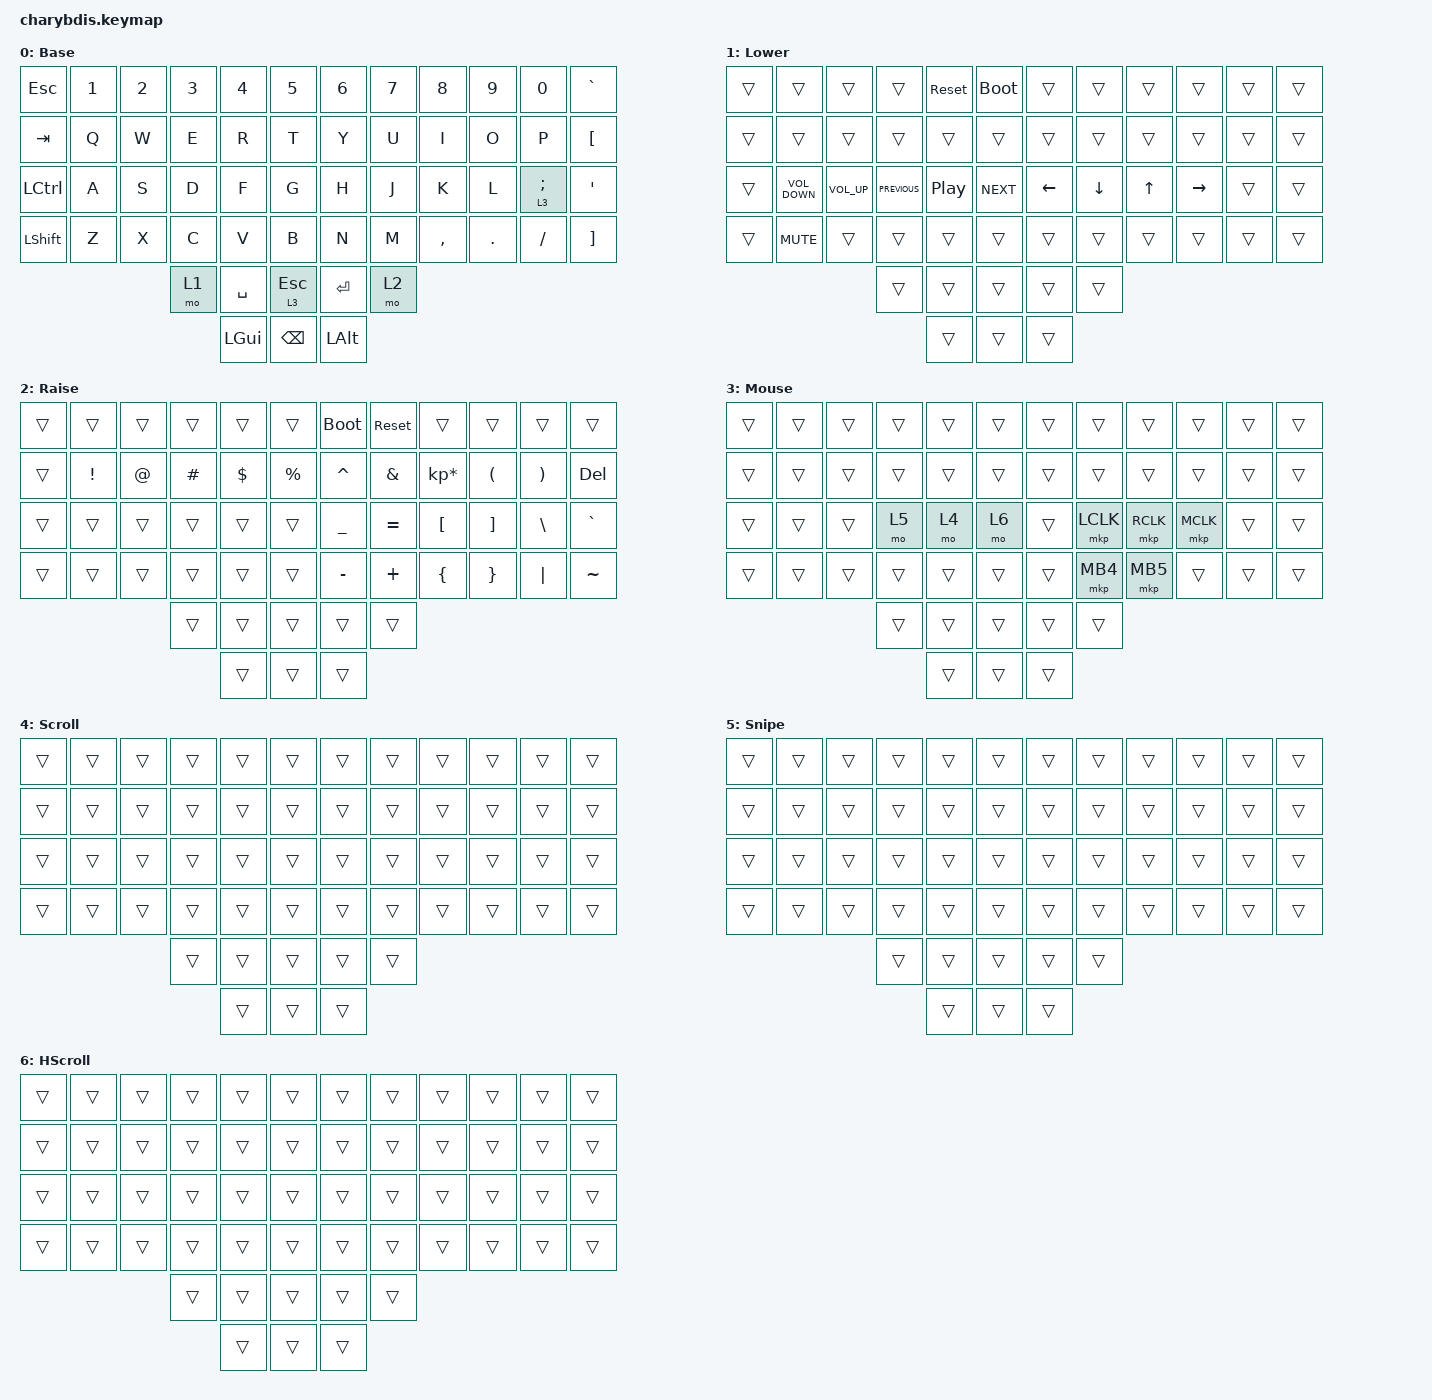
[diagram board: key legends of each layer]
#include <behaviors.dtsi>
#include <dt-bindings/zmk/keys.h>
#include <dt-bindings/zmk/bt.h>
#include <dt-bindings/zmk/ext_power.h>
#include <dt-bindings/zmk/mouse.h>
#include <dt-bindings/zmk/outputs.h>

/ {
    combos {
        compatible = "zmk,combos";

        bootloaderLeft {
            bindings = <&bootloader>;
            key-positions = <0 13>;
        };
        bootloaderRight {
            bindings = <&bootloader>;
            key-positions = <11 22>;
        };
        resetLeft {
            bindings = <&sys_reset>;
            key-positions = <0 12>;
        };
        resetRight {
            bindings = <&sys_reset>;
            key-positions = <11 23>;
        };
    };

    trackball_listener {
        compatible = "zmk,input-behavior-listener";
        device = <&vtrackball>;
        layers = <0 1 2 3>;
        evt-type = <INPUT_EV_REL>;
        x-input-code = <INPUT_REL_X>;
        y-input-code = <INPUT_REL_Y>;
        scale-multiplier = <1>;
        scale-divisor = <2>;
    };

    trackball_snipe_listener {
        compatible = "zmk,input-behavior-listener";   
        device = <&vtrackball>;
        layers = <5>;
        evt-type = <INPUT_EV_REL>;
        x-input-code = <INPUT_REL_X>;
        y-input-code = <INPUT_REL_Y>;
        scale-multiplier = <1>;
        scale-divisor = <4>;
    };

    trackball_scroll_listener {
        compatible = "zmk,input-behavior-listener";
        device = <&vtrackball>;
        layers = <4>;
        evt-type = <INPUT_EV_REL>;            
        x-input-code = <INPUT_REL_MISC>;
        y-input-code = <INPUT_REL_WHEEL>;
        y-invert;
        bindings = <&ib_wheel_scaler 1 64>;
    };

    trackball_hscroll_listener {
        compatible = "zmk,input-behavior-listener";
        device = <&vtrackball>;
        layers = <6>;
        evt-type = <INPUT_EV_REL>;            
        x-input-code = <INPUT_REL_HWHEEL>;
        y-input-code = <INPUT_REL_MISC>;
        y-invert;
        bindings = <&ib_hwheel_scaler 1 64>;
    };

    ib_wheel_scaler: ib_wheel_scaler {
        compatible = "zmk,input-behavior-scaler";
        #binding-cells = <2>;
        evt-type = <INPUT_EV_REL>;
        input-code = <INPUT_REL_WHEEL>;
    };

    ib_hwheel_scaler: ib_hwheel_scaler {
        compatible = "zmk,input-behavior-scaler";
        #binding-cells = <2>;
        evt-type = <INPUT_EV_REL>;
        input-code = <INPUT_REL_HWHEEL>;
    };

    ib_toggle_layer: ib_toggle_layer {
        compatible = "zmk,input-behavior-tog-layer";
        #binding-cells = <1>;
        time-to-live-ms = <750>;
    };

    behaviors {
        lt: layer_tap {
            compatible = "zmk,behavior-hold-tap";
            #binding-cells = <2>;
            flavor = "balanced";
            tapping-term-ms = <240>;
            quick-tap-ms = <150>;
            bindings = 
                <&mo>,
                <&kp>;
        };
    };

    keymap {
        compatible = "zmk,keymap";

        Base {
            label = "Base";
            display-name = "Base";
            bindings = <
            // ╭─────────────┬─────────────┬─────────────┬─────────────┬─────────────┬─────────────╮   ╭─────────────┬─────────────┬─────────────┬─────────────┬─────────────┬─────────────╮
                   &kp ESC       &kp N1         &kp N2        &kp N3        &kp N4        &kp N5            &kp N6        &kp N7        &kp N8        &kp N9        &kp N0      &kp GRAVE
            // ├─────────────┼─────────────┼─────────────┼─────────────┼─────────────┼─────────────┤   ├─────────────┼─────────────┼─────────────┼─────────────┼─────────────┼─────────────┤
                   &kp TAB       &kp Q          &kp W         &kp E         &kp R         &kp T             &kp Y         &kp U         &kp I         &kp O         &kp P       &kp LEFT_BRACKET
            // ├─────────────┼─────────────┼─────────────┼─────────────┼─────────────┼─────────────┤   ├─────────────┼─────────────┼─────────────┼─────────────┼─────────────┼─────────────┤
                  &kp LCTRL      &kp A          &kp S         &kp D         &kp F         &kp G             &kp H         &kp J         &kp K         &kp L       &lt 3 SEMI      &kp APOS
            // ├─────────────┼─────────────┼─────────────┼─────────────┼─────────────┼─────────────┤   ├─────────────┼─────────────┼─────────────┼─────────────┼─────────────┼─────────────┤
                  &kp LSHFT      &kp Z          &kp X         &kp C         &kp V         &kp B             &kp N         &kp M      &kp COMMA      &kp DOT       &kp FSLH      &kp RIGHT_BRACKET
            // ╰─────────────┴─────────────┼─────────────┼─────────────┼─────────────┼─────────────┤   ├─────────────┼─────────────┼─────────────┼─────────────┼─────────────┴─────────────╯
                                                              &mo 1         &kp SPACE     &lt 3 ESC           &kp RET       &mo 2 
            //                                           ╰─────────────┤─────────────┤─────────────┤   ├─────────────┼─────────────╯
                                                                            &kp LEFT_GUI  &kp BSPC      &kp LEFT_ALT
            //                                                         ╰─────────────┴─────────────╯   ╰─────────────╯
            >;
        };

        Lower {
            label = "Lower";
            display-name = "Lower";
            bindings = <
            // ╭─────────────┬─────────────┬─────────────┬─────────────┬─────────────┬─────────────╮   ╭─────────────┬─────────────┬─────────────┬─────────────┬─────────────┬─────────────╮
                   &trans         &trans       &trans         &trans      &sys_reset   &bootloader         &trans       &trans         &trans        &trans        &trans        &trans
            // ├─────────────┼─────────────┼─────────────┼─────────────┼─────────────┼─────────────┤   ├─────────────┼─────────────┼─────────────┼─────────────┼─────────────┼─────────────┤
                   &trans         &trans       &trans         &trans       &trans         &trans           &trans       &trans         &trans        &trans        &trans        &trans
            // ├─────────────┼─────────────┼─────────────┼─────────────┼─────────────┼─────────────┤   ├─────────────┼─────────────┼─────────────┼─────────────┼─────────────┼─────────────┤
                   &trans &kp C_VOLUME_DOWN &kp C_VOLUME_UP &kp C_PREVIOUS &kp C_PLAY_PAUSE &kp C_NEXT     &kp LEFT     &kp DOWN       &kp UP        &kp RIGHT     &trans        &trans
            // ├─────────────┼─────────────┼─────────────┼─────────────┼─────────────┼─────────────┤   ├─────────────┼─────────────┼─────────────┼─────────────┼─────────────┼─────────────┤
                   &trans      &kp C_MUTE      &trans         &trans       &trans         &trans           &trans       &trans         &trans        &trans        &trans        &trans
            // ╰─────────────┴─────────────┼─────────────┼─────────────┼─────────────┼─────────────┤   ├─────────────┼─────────────┼─────────────┼─────────────┼─────────────┴─────────────╯
                                                              &trans       &trans         &trans           &trans       &trans    
            //                                           ╰─────────────┤─────────────┤─────────────┤   ├─────────────┼─────────────╯
                                                                           &trans        &trans            &trans
            //                                                         ╰─────────────┴─────────────╯   ╰─────────────╯
            >;
        };

        Raise {
            label = "Raise";
            display-name = "Raise";
            bindings = <
            // ╭──────────────────┬──────────────────┬──────────────────┬──────────────────┬──────────────────┬──────────────────╮   ╭──────────────────┬──────────────────┬──────────────────┬──────────────────┬──────────────────┬──────────────────╮
                   &trans              &trans              &trans             &trans             &trans             &trans                 &bootloader         &sys_reset          &trans              &trans              &trans              &trans
            // ├──────────────────┼──────────────────┼──────────────────┼──────────────────┼──────────────────┼──────────────────┤   ├──────────────────┼──────────────────┼──────────────────┼──────────────────┼──────────────────┼──────────────────┤
                   &trans              &kp EXCL            &kp AT              &kp HASH            &kp DLLR            &kp PRCNT           &kp CARET           &kp AMPS            &kp KP_MULTIPLY     &kp LPAR            &kp RPAR            &kp DEL
            // ├──────────────────┼──────────────────┼──────────────────┼──────────────────┼──────────────────┼──────────────────┤   ├──────────────────┼──────────────────┼──────────────────┼──────────────────┼──────────────────┼──────────────────┤
                   &trans              &trans              &trans             &trans             &trans             &trans                 &kp UNDER           &kp EQUAL           &kp LBKT            &kp RBKT            &kp BSLH            &kp GRAVE
            // ├──────────────────┼──────────────────┼──────────────────┼──────────────────┼──────────────────┼──────────────────┤   ├──────────────────┼──────────────────┼──────────────────┼──────────────────┼──────────────────┼──────────────────┤
                   &trans              &trans              &trans              &trans              &trans              &trans              &kp MINUS           &kp PLUS            &kp LBRC            &kp RBRC            &kp PIPE            &kp TILDE
            // ╰──────────────────┴──────────────────┼──────────────────┼──────────────────┼──────────────────┼──────────────────┤   ├──────────────────┼──────────────────┼──────────────────┼──────────────────┼──────────────────┴──────────────────╯
                                                                               &trans              &trans              &trans              &trans              &trans                  
            //                                                          ╰──────────────────┤──────────────────┤──────────────────┤   ├──────────────────┼──────────────────╯
                                                                                                   &trans              &trans              &trans                               
            //                                                                             ╰──────────────────┴──────────────────╯   ╰──────────────────╯
            >;
        };

        Mouse {
            display-name = "Mouse";
            bindings = <
            // ╭─────────────┬─────────────┬─────────────┬─────────────┬─────────────┬─────────────╮   ╭─────────────┬─────────────┬─────────────┬─────────────┬─────────────┬─────────────╮
                   &trans         &trans       &trans         &trans       &trans         &trans           &trans       &trans         &trans        &trans        &trans        &trans
            // ├─────────────┼─────────────┼─────────────┼─────────────┼─────────────┼─────────────┤   ├─────────────┼─────────────┼─────────────┼─────────────┼─────────────┼─────────────┤
                   &trans         &trans       &trans         &trans       &trans         &trans           &trans       &trans         &trans        &trans        &trans        &trans
            // ├─────────────┼─────────────┼─────────────┼─────────────┼─────────────┼─────────────┤   ├─────────────┼─────────────┼─────────────┼─────────────┼─────────────┼─────────────┤
                   &trans         &trans       &trans         &mo 5        &mo 4         &mo 6             &trans        &mkp LCLK      &mkp RCLK     &mkp MCLK     &trans        &trans        
            // ├─────────────┼─────────────┼─────────────┼─────────────┼─────────────┼─────────────┤   ├─────────────┼─────────────┼─────────────┼─────────────┼─────────────┼─────────────┤
                   &trans         &trans       &trans         &trans       &trans         &trans           &trans       &mkp MB4       &mkp MB5      &trans        &trans        &trans
            // ╰─────────────┴─────────────┼─────────────┼─────────────┼─────────────┼─────────────┤   ├─────────────┼─────────────┼─────────────┼─────────────┼─────────────┴─────────────╯
                                                              &trans       &trans         &trans           &trans       &trans    
            //                                           ╰─────────────┤─────────────┤─────────────┤   ├─────────────┼─────────────╯
                                                                           &trans         &trans           &trans
            //                                                         ╰─────────────┴─────────────╯   ╰─────────────╯
            >;
        };
        
        Scroll {
            display-name = "Scroll";
            bindings = <
            // ╭─────────────┬─────────────┬─────────────┬─────────────┬─────────────┬─────────────╮   ╭─────────────┬─────────────┬─────────────┬─────────────┬─────────────┬─────────────╮
                   &trans         &trans       &trans         &trans       &trans         &trans           &trans       &trans         &trans        &trans        &trans        &trans
            // ├─────────────┼─────────────┼─────────────┼─────────────┼─────────────┼─────────────┤   ├─────────────┼─────────────┼─────────────┼─────────────┼─────────────┼─────────────┤
                   &trans         &trans       &trans         &trans       &trans         &trans           &trans       &trans         &trans        &trans        &trans        &trans
            // ├─────────────┼─────────────┼─────────────┼─────────────┼─────────────┼─────────────┤   ├─────────────┼─────────────┼─────────────┼─────────────┼─────────────┼─────────────┤
                   &trans         &trans       &trans         &trans       &trans         &trans           &trans       &trans         &trans        &trans        &trans        &trans        
            // ├─────────────┼─────────────┼─────────────┼─────────────┼─────────────┼─────────────┤   ├─────────────┼─────────────┼─────────────┼─────────────┼─────────────┼─────────────┤
                   &trans         &trans       &trans         &trans       &trans         &trans           &trans       &trans         &trans        &trans        &trans        &trans
            // ╰─────────────┴─────────────┼─────────────┼─────────────┼─────────────┼─────────────┤   ├─────────────┼─────────────┼─────────────┼─────────────┼─────────────┴─────────────╯
                                                              &trans       &trans         &trans           &trans       &trans    
            //                                           ╰─────────────┤─────────────┤─────────────┤   ├─────────────┼─────────────╯
                                                                            &trans        &trans           &trans
            //                                                         ╰─────────────┴─────────────╯   ╰─────────────╯
            >;
        };

        Snipe {
            display-name = "Snipe";
            bindings = <
            // ╭─────────────┬─────────────┬─────────────┬─────────────┬─────────────┬─────────────╮   ╭─────────────┬─────────────┬─────────────┬─────────────┬─────────────┬─────────────╮
                   &trans         &trans       &trans         &trans       &trans         &trans           &trans       &trans         &trans        &trans        &trans        &trans
            // ├─────────────┼─────────────┼─────────────┼─────────────┼─────────────┼─────────────┤   ├─────────────┼─────────────┼─────────────┼─────────────┼─────────────┼─────────────┤
                   &trans         &trans       &trans         &trans       &trans         &trans           &trans       &trans         &trans        &trans        &trans        &trans
            // ├─────────────┼─────────────┼─────────────┼─────────────┼─────────────┼─────────────┤   ├─────────────┼─────────────┼─────────────┼─────────────┼─────────────┼─────────────┤
                   &trans         &trans       &trans         &trans       &trans         &trans           &trans       &trans         &trans        &trans        &trans        &trans        
            // ├─────────────┼─────────────┼─────────────┼─────────────┼─────────────┼─────────────┤   ├─────────────┼─────────────┼─────────────┼─────────────┼─────────────┼─────────────┤
                   &trans         &trans       &trans         &trans       &trans         &trans           &trans       &trans         &trans        &trans        &trans        &trans
            // ╰─────────────┴─────────────┼─────────────┼─────────────┼─────────────┼─────────────┤   ├─────────────┼─────────────┼─────────────┼─────────────┼─────────────┴─────────────╯
                                                              &trans       &trans         &trans           &trans       &trans    
            //                                           ╰─────────────┤─────────────┤─────────────┤   ├─────────────┼─────────────╯
                                                                            &trans        &trans           &trans
            //                                                         ╰─────────────┴─────────────╯   ╰─────────────╯
            >;
        };

        HScroll {
            display-name = "HScroll";
            bindings = <
            // ╭─────────────┬─────────────┬─────────────┬─────────────┬─────────────┬─────────────╮   ╭─────────────┬─────────────┬─────────────┬─────────────┬─────────────┬─────────────╮
                   &trans         &trans       &trans         &trans       &trans         &trans           &trans       &trans         &trans        &trans        &trans        &trans
            // ├─────────────┼─────────────┼─────────────┼─────────────┼─────────────┼─────────────┤   ├─────────────┼─────────────┼─────────────┼─────────────┼─────────────┼─────────────┤
                   &trans         &trans       &trans         &trans       &trans         &trans           &trans       &trans         &trans        &trans        &trans        &trans
            // ├─────────────┼─────────────┼─────────────┼─────────────┼─────────────┼─────────────┤   ├─────────────┼─────────────┼─────────────┼─────────────┼─────────────┼─────────────┤
                   &trans         &trans       &trans         &trans       &trans         &trans           &trans       &trans         &trans        &trans        &trans        &trans        
            // ├─────────────┼─────────────┼─────────────┼─────────────┼─────────────┼─────────────┤   ├─────────────┼─────────────┼─────────────┼─────────────┼─────────────┼─────────────┤
                   &trans         &trans       &trans         &trans       &trans         &trans           &trans       &trans         &trans        &trans        &trans        &trans
            // ╰─────────────┴─────────────┼─────────────┼─────────────┼─────────────┼─────────────┤   ├─────────────┼─────────────┼─────────────┼─────────────┼─────────────┴─────────────╯
                                                              &trans       &trans         &trans           &trans       &trans    
            //                                           ╰─────────────┤─────────────┤─────────────┤   ├─────────────┼─────────────╯
                                                                            &trans        &trans           &trans
            //                                                         ╰─────────────┴─────────────╯   ╰─────────────╯
            >;
        };
    };
};
